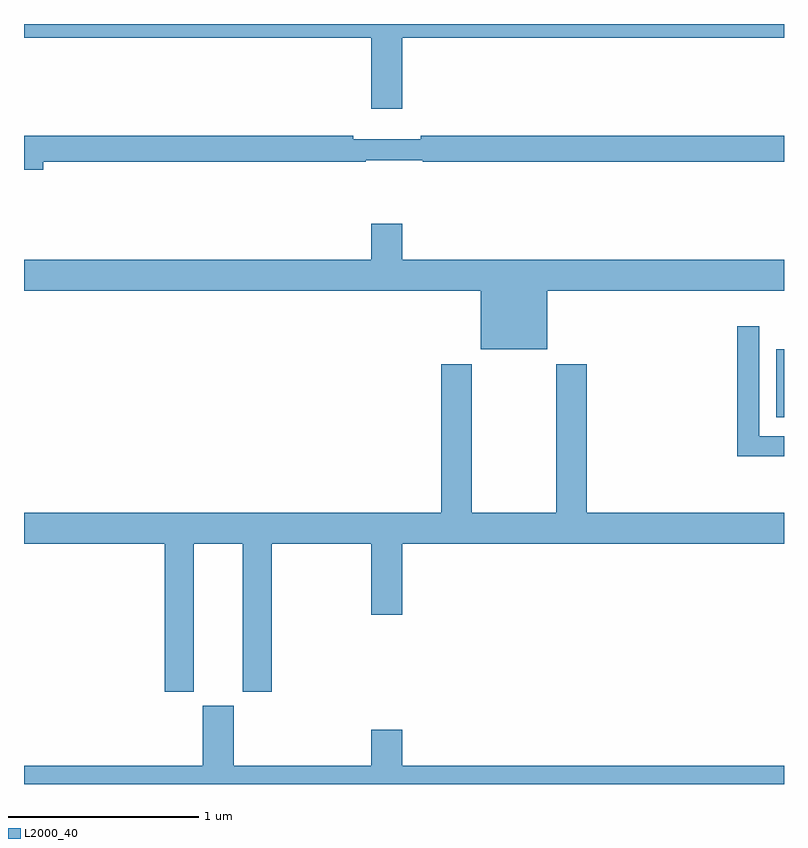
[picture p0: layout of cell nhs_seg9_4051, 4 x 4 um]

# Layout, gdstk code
import gdstk
lib = gdstk.Library(unit=1e-6, precision=1e-09)
def R(c, l, rs):  # rectangles x0, y0, x1, y1
    for r in rs: c.add(gdstk.rectangle(r[:2], r[2:], *l))
def P(c, l, *ps):  # polygons
    for p in ps: c.add(gdstk.Polygon(p, *l))
L2000_40 = (2000, 40)

nhs_seg9_4051 = lib.new_cell('nhs_seg9_4051')
R(nhs_seg9_4051, L2000_40, [(346.958,1186.43,347,1186.789)])
P(nhs_seg9_4051, L2000_40, [(344.992,1188.428),(347,1188.428),(347,1188.5),(343,1188.5),(343,1188.428),(344.828,1188.428),(344.828,1188.054),(344.992,1188.054)],
  [(343.102,1187.776),(344.798,1187.776),(344.798,1187.784),(345.098,1187.784),(345.098,1187.776),(347,1187.776),(347,1187.912),(345.088,1187.912),(345.088,1187.893),(344.732,1187.893),(344.732,1187.912),(343,1187.912),(343,1187.734),(343.102,1187.734)],
  [(345.754,1187.096),(347,1187.096),(347,1187.26),(344.992,1187.26),(344.992,1187.449),(344.828,1187.449),(344.828,1187.26),(343,1187.26),(343,1187.096),(345.404,1187.096),(345.404,1186.787),(345.754,1186.787)],
  [(346.876,1186.226),(347,1186.226),(347,1186.33),(346.869,1186.33),(346.869,1186.909),(346.753,1186.909),(346.753,1186.224),(346.876,1186.224)],
  [(343.894,1185.764),(344.15,1185.764),(344.15,1184.985),(344.303,1184.985),(344.303,1185.764),(344.828,1185.764),(344.828,1185.39),(344.992,1185.39),(344.992,1185.764),(347,1185.764),(347,1185.928),(345.962,1185.928),(345.962,1186.708),(345.802,1186.708),(345.802,1185.928),(345.357,1185.928),(345.357,1186.708),(345.197,1186.708),(345.197,1185.928),(343,1185.928),(343,1185.764),(343.742,1185.764),(343.742,1184.985),(343.894,1184.985)],
  [(347,1184.596),(344.992,1184.596),(344.992,1184.785),(344.828,1184.785),(344.828,1184.596),(344.104,1184.596),(344.104,1184.913),(343.94,1184.913),(343.94,1184.596),(343,1184.596),(343,1184.5),(347,1184.5)])

lib.write_gds('nhs_seg9_4051.gds')
